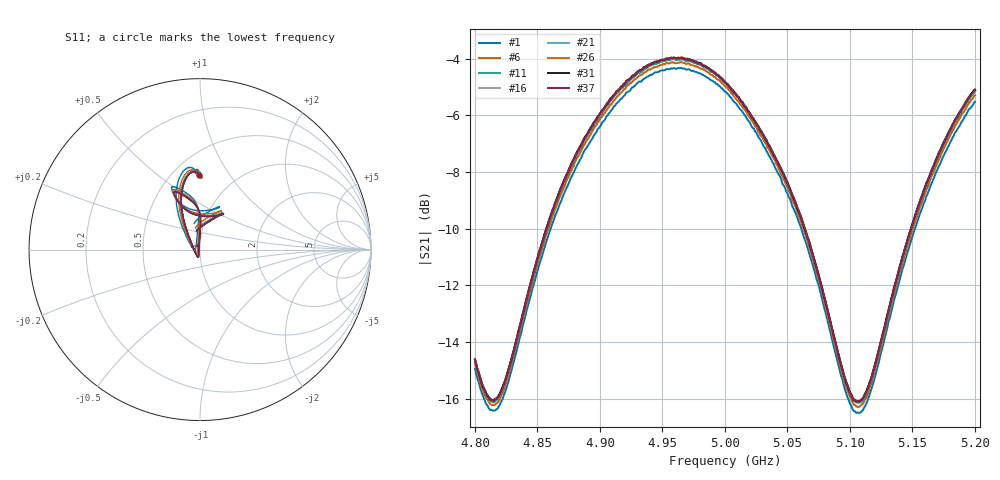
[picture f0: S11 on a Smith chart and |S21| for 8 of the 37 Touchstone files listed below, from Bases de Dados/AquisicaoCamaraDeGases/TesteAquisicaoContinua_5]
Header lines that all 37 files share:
! Network Analyzer HP8722D
! Hewlett-Packard
! Data name: Linha & Wilkinson
! Saver's name: Rodrigo Anjos
! Comments: Teste da utilização de aquisição
! continua pelo VNA HP8722D
!  Frequency  S11  S21  S12  S22
# HZ  S  MA R 50
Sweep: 4.8 GHz to 5.2 GHz
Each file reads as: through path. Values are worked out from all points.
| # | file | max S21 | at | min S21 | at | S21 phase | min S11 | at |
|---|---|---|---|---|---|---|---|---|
| 1 | teste_arseco&borbulhador_Acetona_10-80_3.S2P | -4.32 dB | 4.965 GHz | -16.5 dB | 5.107 GHz | -89 deg at 5 GHz | -31.4 dB | 4.917 GHz |
| 2 | teste_arseco&borbulhador_Acetona_10-80_4.S2P | -4.26 dB | 4.959 GHz | -16.5 dB | 5.106 GHz | -89 deg at 5 GHz | -32.7 dB | 4.92 GHz |
| 3 | teste_arseco&borbulhador_Acetona_10-80_5.S2P | -4.25 dB | 4.963 GHz | -16.4 dB | 5.106 GHz | -89 deg at 5 GHz | -33.5 dB | 4.922 GHz |
| 4 | teste_arseco&borbulhador_Acetona_10-80_6.S2P | -4.20 dB | 4.965 GHz | -16.4 dB | 5.108 GHz | -89 deg at 5 GHz | -34.8 dB | 4.922 GHz |
| 5 | teste_arseco&borbulhador_Acetona_10-80_7.S2P | -4.14 dB | 4.959 GHz | -16.3 dB | 5.106 GHz | -89 deg at 5 GHz | -35.7 dB | 4.923 GHz |
| 6 | teste_arseco&borbulhador_Acetona_10-80_8.S2P | -4.12 dB | 4.964 GHz | -16.3 dB | 5.107 GHz | -89 deg at 5 GHz | -36.8 dB | 4.924 GHz |
| 7 | teste_arseco&borbulhador_Acetona_10-80_9.S2P | -4.08 dB | 4.963 GHz | -16.3 dB | 5.107 GHz | -89 deg at 5 GHz | -37.5 dB | 4.926 GHz |
| 8 | teste_arseco&borbulhador_Acetona_10-80_10.S2P | -4.05 dB | 4.957 GHz | -16.2 dB | 5.108 GHz | -89 deg at 5 GHz | -39.4 dB | 4.926 GHz |
| 9 | teste_arseco&borbulhador_Acetona_10-80_11.S2P | -4.03 dB | 4.965 GHz | -16.2 dB | 5.105 GHz | -89 deg at 5 GHz | -40.5 dB | 4.927 GHz |
| 10 | teste_arseco&borbulhador_Acetona_10-80_12.S2P | -4.01 dB | 4.962 GHz | -16.2 dB | 5.107 GHz | -89 deg at 5 GHz | -40.9 dB | 4.927 GHz |
| 11 | teste_arseco&borbulhador_Acetona_10-80_13.S2P | -4.00 dB | 4.959 GHz | -16.1 dB | 5.108 GHz | -89 deg at 5 GHz | -41.5 dB | 4.928 GHz |
| 12 | teste_arseco&borbulhador_Acetona_10-80_14.S2P | -4.00 dB | 4.966 GHz | -16.2 dB | 5.106 GHz | -89 deg at 5 GHz | -41.8 dB | 4.927 GHz |
| 13 | teste_arseco&borbulhador_Acetona_10-80_15.S2P | -3.99 dB | 4.965 GHz | -16.1 dB | 5.107 GHz | -89 deg at 5 GHz | -42.8 dB | 4.928 GHz |
| 14 | teste_arseco&borbulhador_Acetona_10-80_16.S2P | -3.97 dB | 4.957 GHz | -16.1 dB | 5.107 GHz | -89 deg at 5 GHz | -43.6 dB | 4.928 GHz |
| 15 | teste_arseco&borbulhador_Acetona_10-80_17.S2P | -3.96 dB | 4.959 GHz | -16.1 dB | 5.108 GHz | -89 deg at 5 GHz | -43.2 dB | 4.928 GHz |
| 16 | teste_arseco&borbulhador_Acetona_10-80_18.S2P | -3.96 dB | 4.965 GHz | -16.1 dB | 5.106 GHz | -89 deg at 5 GHz | -43.5 dB | 4.928 GHz |
| 17 | teste_arseco&borbulhador_Acetona_10-80_19.S2P | -3.96 dB | 4.959 GHz | -16.1 dB | 5.106 GHz | -89 deg at 5 GHz | -43.7 dB | 4.928 GHz |
| 18 | teste_arseco&borbulhador_Acetona_10-80_20.S2P | -3.94 dB | 4.957 GHz | -16.1 dB | 5.106 GHz | -89 deg at 5 GHz | -43.8 dB | 4.928 GHz |
| 19 | teste_arseco&borbulhador_Acetona_10-80_21.S2P | -3.95 dB | 4.957 GHz | -16.1 dB | 5.105 GHz | -89 deg at 5 GHz | -42.9 dB | 4.928 GHz |
| 20 | teste_arseco&borbulhador_Acetona_10-80_22.S2P | -3.95 dB | 4.959 GHz | -16.1 dB | 5.106 GHz | -89 deg at 5 GHz | -43.5 dB | 4.928 GHz |
| 21 | teste_arseco&borbulhador_Acetona_10-80_23.S2P | -3.96 dB | 4.965 GHz | -16.1 dB | 5.106 GHz | -89 deg at 5 GHz | -44.0 dB | 4.928 GHz |
| 22 | teste_arseco&borbulhador_Acetona_10-80_24.S2P | -3.93 dB | 4.965 GHz | -16.1 dB | 5.107 GHz | -89 deg at 5 GHz | -44.4 dB | 4.929 GHz |
| 23 | teste_arseco&borbulhador_Acetona_10-80_25.S2P | -3.94 dB | 4.965 GHz | -16.1 dB | 5.107 GHz | -89 deg at 5 GHz | -44.5 dB | 4.929 GHz |
| 24 | teste_arseco&borbulhador_Acetona_10-80_26.S2P | -3.95 dB | 4.963 GHz | -16.1 dB | 5.106 GHz | -89 deg at 5 GHz | -44.2 dB | 4.929 GHz |
| 25 | teste_arseco&borbulhador_Acetona_10-80_27.S2P | -3.95 dB | 4.957 GHz | -16.1 dB | 5.107 GHz | -89 deg at 5 GHz | -43.4 dB | 4.928 GHz |
| 26 | teste_arseco&borbulhador_Acetona_10-80_28.S2P | -3.95 dB | 4.965 GHz | -16.1 dB | 5.106 GHz | -89 deg at 5 GHz | -43.8 dB | 4.929 GHz |
| 27 | teste_arseco&borbulhador_Acetona_10-80_29.S2P | -3.96 dB | 4.962 GHz | -16.1 dB | 5.106 GHz | -89 deg at 5 GHz | -43.3 dB | 4.929 GHz |
| 28 | teste_arseco&borbulhador_Acetona_10-80_30.S2P | -3.97 dB | 4.965 GHz | -16.1 dB | 5.107 GHz | -89 deg at 5 GHz | -42.9 dB | 4.928 GHz |
| 29 | teste_arseco&borbulhador_Acetona_10-80_31.S2P | -3.95 dB | 4.957 GHz | -16.1 dB | 5.106 GHz | -89 deg at 5 GHz | -43.7 dB | 4.928 GHz |
| 30 | teste_arseco&borbulhador_Acetona_10-80_32.S2P | -3.95 dB | 4.962 GHz | -16.1 dB | 5.105 GHz | -89 deg at 5 GHz | -43.2 dB | 4.928 GHz |
| 31 | teste_arseco&borbulhador_Acetona_10-80_33.S2P | -3.96 dB | 4.959 GHz | -16.1 dB | 5.107 GHz | -89 deg at 5 GHz | -43.2 dB | 4.928 GHz |
| 32 | teste_arseco&borbulhador_Acetona_10-80_34.S2P | -3.96 dB | 4.959 GHz | -16.1 dB | 5.105 GHz | -89 deg at 5 GHz | -43.0 dB | 4.928 GHz |
| 33 | teste_arseco&borbulhador_Acetona_10-80_35.S2P | -3.97 dB | 4.965 GHz | -16.1 dB | 5.107 GHz | -89 deg at 5 GHz | -43.1 dB | 4.928 GHz |
| 34 | teste_arseco&borbulhador_Acetona_10-80_36.S2P | -3.96 dB | 4.965 GHz | -16.1 dB | 5.106 GHz | -89 deg at 5 GHz | -43.3 dB | 4.928 GHz |
| 35 | teste_arseco&borbulhador_Acetona_10-80_37.S2P | -3.97 dB | 4.963 GHz | -16.1 dB | 5.106 GHz | -89 deg at 5 GHz | -43.1 dB | 4.928 GHz |
| 36 | teste_arseco&borbulhador_Acetona_10-80_38.S2P | -3.96 dB | 4.957 GHz | -16.1 dB | 5.106 GHz | -89 deg at 5 GHz | -43.6 dB | 4.928 GHz |
| 37 | teste_arseco&borbulhador_Acetona_10-80_39.S2P | -3.96 dB | 4.957 GHz | -16.1 dB | 5.106 GHz | -89 deg at 5 GHz | -43.4 dB | 4.929 GHz |
